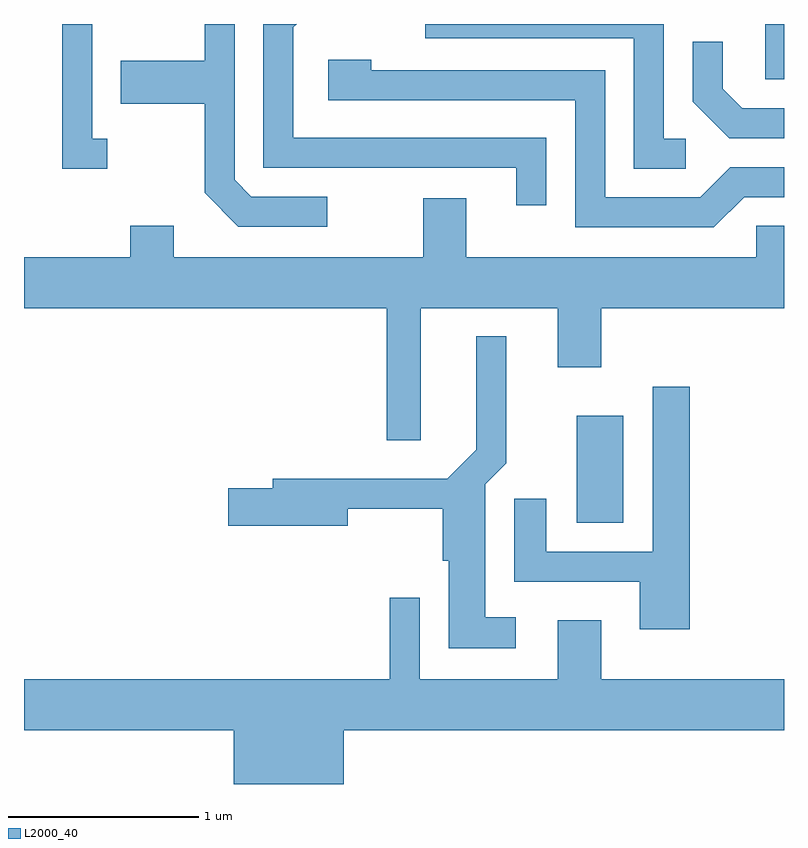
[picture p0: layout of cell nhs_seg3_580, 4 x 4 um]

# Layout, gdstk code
import gdstk
lib = gdstk.Library(unit=1e-6, precision=1e-09)
def R(c, l, rs):  # rectangles x0, y0, x1, y1
    for r in rs: c.add(gdstk.rectangle(r[:2], r[2:], *l))
def P(c, l, *ps):  # polygons
    for p in ps: c.add(gdstk.Polygon(p, *l))
L2000_40 = (2000, 40)

nhs_seg3_580 = lib.new_cell('nhs_seg3_580')
R(nhs_seg3_580, L2000_40, [(204.521,1189.266,204.764,1189.829), (205.511,1191.601,205.611,1191.892)])
P(nhs_seg3_580, L2000_40, [(202.048,1191.289),(201.969,1191.289),(201.969,1191.892),(201.811,1191.892),(201.811,1191.131),(202.048,1191.131)],
  [(205.093,1191.289),(204.979,1191.289),(204.979,1191.892),(203.723,1191.892),(203.723,1191.816),(204.821,1191.816),(204.821,1191.131),(205.093,1191.131)],
  [(204.359,1191.294),(203.029,1191.294),(203.029,1191.874),(203.047,1191.892),(202.871,1191.892),(202.871,1191.136),(204.201,1191.136),(204.201,1190.938),(204.359,1190.938)],
  [(203.208,1190.984),(202.807,1190.984),(202.719,1191.072),(202.719,1191.892),(202.561,1191.892),(202.561,1191.699),(202.121,1191.699),(202.121,1191.471),(202.561,1191.471),(202.561,1191.004),(202.739,1190.826),(203.208,1190.826)],
  [(205.611,1191.449),(205.392,1191.449),(205.289,1191.552),(205.289,1191.798),(205.131,1191.798),(205.131,1191.484),(205.324,1191.291),(205.611,1191.291)],
  [(205.402,1190.981),(205.611,1190.981),(205.611,1191.139),(205.329,1191.139),(205.169,1190.979),(204.669,1190.979),(204.669,1191.649),(203.439,1191.649),(203.439,1191.704),(203.211,1191.704),(203.211,1191.491),(204.511,1191.491),(204.511,1190.821),(205.242,1190.821)],
  [(203.699,1190.396),(204.421,1190.396),(204.421,1190.086),(204.649,1190.086),(204.649,1190.396),(205.611,1190.396),(205.611,1190.829),(205.466,1190.829),(205.466,1190.664),(203.939,1190.664),(203.939,1190.974),(203.711,1190.974),(203.711,1190.664),(202.399,1190.664),(202.399,1190.829),(202.171,1190.829),(202.171,1190.664),(201.611,1190.664),(201.611,1190.396),(203.521,1190.396),(203.521,1189.701),(203.699,1189.701)],
  [(204.198,1188.769),(204.039,1188.769),(204.039,1189.469),(204.149,1189.579),(204.149,1190.248),(203.991,1190.248),(203.991,1189.652),(203.839,1189.499),(202.921,1189.499),(202.921,1189.449),(202.686,1189.449),(202.686,1189.251),(203.314,1189.251),(203.314,1189.341),(203.816,1189.341),(203.816,1189.066),(203.846,1189.066),(203.846,1188.606),(204.198,1188.606)],
  [(205.114,1189.984),(204.921,1189.984),(204.921,1189.114),(204.359,1189.114),(204.359,1189.393),(204.191,1189.393),(204.191,1188.956),(204.851,1188.956),(204.851,1188.706),(205.114,1188.706)],
  [(203.294,1188.176),(205.611,1188.176),(205.611,1188.444),(204.649,1188.444),(204.649,1188.754),(204.421,1188.754),(204.421,1188.444),(203.694,1188.444),(203.694,1188.873),(203.536,1188.873),(203.536,1188.444),(201.611,1188.444),(201.611,1188.176),(202.716,1188.176),(202.716,1187.892),(203.294,1187.892)])

lib.write_gds('nhs_seg3_580.gds')
